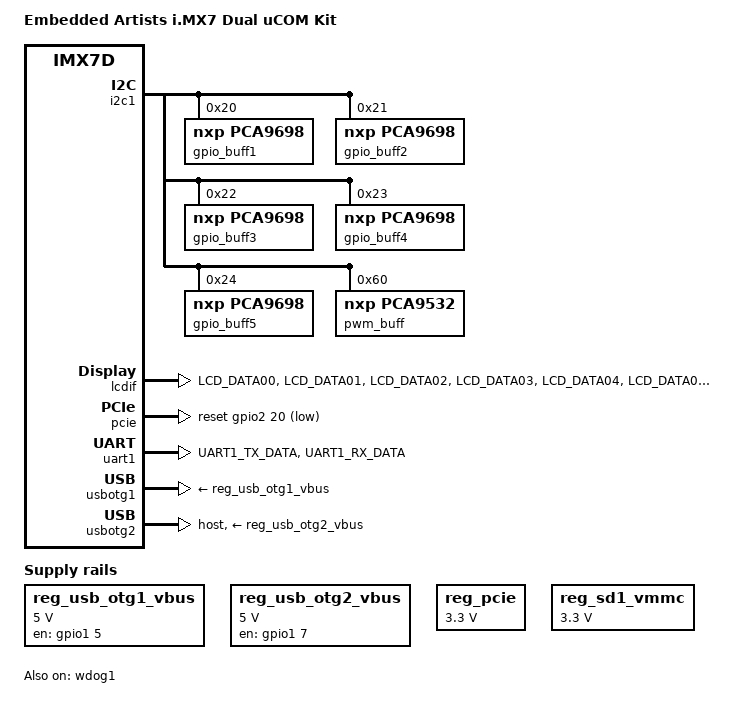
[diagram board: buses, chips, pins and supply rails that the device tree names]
/*
 * Copyright (C) 2015 Freescale Semiconductor, Inc.
 *
 * This program is free software; you can redistribute it and/or modify
 * it under the terms of the GNU General Public License version 2 as
 * published by the Free Software Foundation.
 */

/dts-v1/;

#include <dt-bindings/input/input.h>
#include <dt-bindings/leds/leds-pca9532.h>
#include "imx7dea-ucom-adapter.dtsi"

/ {
	model = "Embedded Artists i.MX7 Dual uCOM Kit";
	compatible = "fsl,imx7dea-ucom", "fsl,imx7d";

	/* Aliases to allow u-boot to modify the device tree */
	aliases {
	};

	regulators {
		compatible = "simple-bus";
		#address-cells = <1>;
		#size-cells = <0>;

		reg_usb_otg1_vbus: regulator@0 {
			compatible = "regulator-fixed";
			reg = <0>;
			regulator-name = "usb_otg1_vbus";
			regulator-min-microvolt = <5000000>;
			regulator-max-microvolt = <5000000>;
			gpio = <&gpio1 5 GPIO_ACTIVE_HIGH>;
			enable-active-high;
		};

		reg_usb_otg2_vbus: regulator@1 {
			compatible = "regulator-fixed";
			reg = <1>;
			regulator-name = "usb_otg2_vbus";
			regulator-min-microvolt = <5000000>;
			regulator-max-microvolt = <5000000>;
			gpio = <&gpio1 7 GPIO_ACTIVE_HIGH>;
			enable-active-high;
		};

		reg_pcie: regulator@4 {
			compatible = "regulator-fixed";
			reg = <4>;
			regulator-name = "MPCIE_3V3";
			regulator-min-microvolt = <3300000>;
			regulator-max-microvolt = <3300000>;
			regulator-always-on;
			enable-active-high;
		};

		reg_sd1_vmmc: regulator@5 {
			compatible = "regulator-fixed";
			regulator-name = "VDD_SD1";
			regulator-min-microvolt = <3300000>;
			regulator-max-microvolt = <3300000>;
			enable-active-high;
			startup-delay-us = <200000>;
		};
	};
};

&i2c1 {
	gpio_buff1: pca9698@20 {
		compatible = "nxp,pca9698";
		reg = <0x20>;
		gpio-controller;
		#gpio-cells = <2>;
	};
	gpio_buff2: pca9698@21 {
		compatible = "nxp,pca9698";
		reg = <0x21>;
		gpio-controller;
		#gpio-cells = <2>;
	};
	gpio_buff3: pca9698@22 {
		compatible = "nxp,pca9698";
		reg = <0x22>;
		gpio-controller;
		#gpio-cells = <2>;
	};
	gpio_buff4: pca9698@23 {
		compatible = "nxp,pca9698";
		reg = <0x23>;
		gpio-controller;
		#gpio-cells = <2>;
	};
	gpio_buff5: pca9698@24 {
		compatible = "nxp,pca9698";
		reg = <0x24>;
		gpio-controller;
		#gpio-cells = <2>;
	};

	pwm_buff: pca9532@60 {
		compatible = "nxp,pca9532";
		reg = <0x60>;

		tst-pwm-000 {
			label = "TST_PWM_000";
			type = <PCA9532_TYPE_LED>;
		};
		tst-pwm-001 {
			label = "TST_PWM_001";
			type = <PCA9532_TYPE_LED>;
		};
		tst-pwm-002 {
			label = "TST_PWM_002";
			type = <PCA9532_TYPE_LED>;
		};
		tst-pwm-003 {
			label = "TST_PWM_003";
			type = <PCA9532_TYPE_LED>;
		};
		tst-pwm-004 {
			label = "TST_PWM_004";
			type = <PCA9532_TYPE_LED>;
		};
		tst-pwm-005 {
			label = "TST_PWM_005";
			type = <PCA9532_TYPE_LED>;
		};
		tst-pwm-006 {
			label = "TST_PWM_006";
			type = <PCA9532_TYPE_LED>;
		};
		tst-pwm-007 {
			label = "TST_PWM_007";
			type = <PCA9532_TYPE_LED>;
		};
		tst-pwm-008 {
			label = "TST_PWM_008";
			type = <PCA9532_TYPE_LED>;
		};
		tst-pwm-009 {
			label = "TST_PWM_009";
			type = <PCA9532_TYPE_LED>;
		};
		tst-pwm-010 {
			label = "TST_PWM_010";
			type = <PCA9532_TYPE_LED>;
		};
		tst-pwm-011 {
			label = "TST_PWM_011";
			type = <PCA9532_TYPE_LED>;
		};
		tst-pwm-012 {
			label = "TST_PWM_012";
			type = <PCA9532_TYPE_LED>;
		};
		red-led {
			label = "TST_PWM_013-RED_LED";
			type = <PCA9532_TYPE_LED>;
		};
		blue-led {
			label = "TST_PWM_014-BLUE_LED";
			type = <PCA9532_TYPE_LED>;
		};
		green-led {
			label = "TST_PWM_015-GREEN_LED";
			type = <PCA9532_TYPE_LED>;
		};
	};
};

&i2c2 {
	status = "disabled";
};

&i2c3 {
	status = "disabled";
};

&iomuxc {
	pinctrl-names = "default";
	pinctrl-0 = <&pinctrl_hog_1>, <&pinctrl_test_1>;

	imx7d-ucom-ptp {
		pinctrl_hog_1: hoggrp-1 {
			fsl,pins = <
				MX7D_PAD_UART3_CTS_B__GPIO4_IO7	0x14
				MX7D_PAD_ECSPI2_SS0__GPIO4_IO23	 0x80000000  /* bt reg on */
				/*MX7D_PAD_GPIO1_IO08__SD1_VSELECT	0x59 / * SD1 VSELECT */
				MX7D_PAD_SD1_CD_B__GPIO5_IO0		0x59 /* CD */
				MX7D_PAD_SD1_RESET_B__GPIO5_IO2		0x59 /* vmmc */
				MX7D_PAD_EPDC_SDCE3__GPIO2_IO23         0x59
				MX7D_PAD_EPDC_DATA14__GPIO2_IO14        0x59 /* CAN_STBY */
				MX7D_PAD_GPIO1_IO09__GPIO1_IO9		0x59 /* PMIC_INT_B */
			>;
		};
		pinctrl_test_1: tstgrp-1 {
			fsl,pins = <
				/* From: pinctrl_hog_1: hoggrp-1 */
				MX7D_PAD_GPIO1_IO08__SD1_VSELECT		0x3b

				/* From: pinctrl_rgb_connector: rgb_connector_grp */
				MX7D_PAD_SD2_CD_B__GPIO5_IO9			0x3b
				MX7D_PAD_EPDC_GDSP__GPIO2_IO27			0x3b

				/* From: pinctrl_lvds0: lvds0_intgrp*/
				MX7D_PAD_EPDC_GDRL__GPIO2_IO26			0x3b

				/* From: pinctrl_ov5647: ov5647grp-1 */
				MX7D_PAD_I2C4_SCL__GPIO4_IO14			0x3b
				MX7D_PAD_I2C4_SDA__GPIO4_IO15			0x3b

				/* From: pinctrl_epdc0: epdcgrp0 */
				/*MX7D_PAD_EPDC_DATA00__GPIO2_IO0			0x3b
				MX7D_PAD_EPDC_DATA01__GPIO2_IO1			0x3b
				MX7D_PAD_EPDC_DATA02__GPIO2_IO2			0x3b
				MX7D_PAD_EPDC_DATA03__GPIO2_IO3			0x3b
				MX7D_PAD_EPDC_DATA04__GPIO2_IO4			0x3b
				MX7D_PAD_EPDC_DATA05__GPIO2_IO5			0x3b
				MX7D_PAD_EPDC_DATA06__GPIO2_IO6			0x3b*/
				MX7D_PAD_EPDC_DATA07__GPIO2_IO7			0x3b
				MX7D_PAD_EPDC_DATA08__GPIO2_IO8			0x3b
				MX7D_PAD_EPDC_DATA09__GPIO2_IO9			0x3b
				MX7D_PAD_EPDC_DATA10__GPIO2_IO10		0x3b
				MX7D_PAD_EPDC_DATA11__GPIO2_IO11		0x3b
				MX7D_PAD_EPDC_DATA12__GPIO2_IO12		0x3b
				MX7D_PAD_EPDC_DATA13__GPIO2_IO13		0x3b
				MX7D_PAD_EPDC_DATA14__GPIO2_IO14		0x3b
				MX7D_PAD_EPDC_DATA15__GPIO2_IO15		0x3b
				MX7D_PAD_EPDC_SDCLK__GPIO2_IO16			0x3b
				MX7D_PAD_EPDC_SDLE__GPIO2_IO17			0x3b
				MX7D_PAD_EPDC_SDOE__GPIO2_IO18			0x3b
				MX7D_PAD_EPDC_SDSHR__GPIO2_IO19			0x3b
				MX7D_PAD_EPDC_SDCE0__GPIO2_IO20			0x3b
				MX7D_PAD_EPDC_SDCE1__GPIO2_IO21			0x3b
				MX7D_PAD_EPDC_GDCLK__GPIO2_IO24			0x3b
				MX7D_PAD_EPDC_GDOE__GPIO2_IO25			0x3b
				MX7D_PAD_EPDC_GDRL__GPIO2_IO26			0x3b
				MX7D_PAD_EPDC_GDSP__GPIO2_IO27			0x3b
				MX7D_PAD_EPDC_BDR0__GPIO2_IO28			0x3b
				MX7D_PAD_EPDC_BDR1__GPIO2_IO29			0x3b

				/* From: pinctrl_ecspi3_cs: ecspi3_cs_grp */
				MX7D_PAD_SD2_CD_B__GPIO5_IO9			0x3b

				/* From: pinctrl_ecspi3: ecspi3grp */
				MX7D_PAD_SAI2_TX_SYNC__GPIO6_IO19		0x3b
				MX7D_PAD_SAI2_TX_BCLK__GPIO6_IO20		0x3b
				MX7D_PAD_SAI2_RX_DATA__GPIO6_IO21		0x3b

				/* From: pinctrl_flexcan1: flexcan1grp */
				MX7D_PAD_GPIO1_IO12__GPIO1_IO12			0x3b
				MX7D_PAD_GPIO1_IO13__GPIO1_IO13			0x3b

				/* From: pinctrl_flexcan2: flexcan2grp */
				MX7D_PAD_GPIO1_IO14__GPIO1_IO14			0x3b
				MX7D_PAD_GPIO1_IO15__GPIO1_IO15			0x3b

				/* From: pinctrl_i2c2: i2c2grp */
				MX7D_PAD_I2C2_SDA__GPIO4_IO11			0x3b
				MX7D_PAD_I2C2_SCL__GPIO4_IO10			0x3b

				/* From: pinctrl_i2c3: i2c3grp */
				MX7D_PAD_I2C3_SDA__GPIO4_IO13			0x3b
				MX7D_PAD_I2C3_SCL__GPIO4_IO12			0x3b

				/* From: pinctrl_i2c4: i2c4grp */
				MX7D_PAD_SAI1_RX_BCLK__GPIO6_IO17		0x3b
				MX7D_PAD_SAI1_RX_SYNC__GPIO6_IO16		0x3b

				/* From: pinctrl_uart2: uart2grp */
				MX7D_PAD_UART2_TX_DATA__GPIO4_IO3		0x3b
				MX7D_PAD_UART2_RX_DATA__GPIO4_IO2		0x3b

				/* From: pinctrl_uart3: uart3grp */
				MX7D_PAD_UART3_TX_DATA__GPIO4_IO5		0x3b
				MX7D_PAD_UART3_RX_DATA__GPIO4_IO4		0x3b

				/* From: pinctrl_usdhc1: usdhc1grp */
				MX7D_PAD_SD1_CMD__GPIO5_IO4			0x3b
				MX7D_PAD_SD1_CLK__GPIO5_IO3			0x3b
				MX7D_PAD_SD1_DATA0__GPIO5_IO5			0x3b
				MX7D_PAD_SD1_DATA1__GPIO5_IO6			0x3b
				MX7D_PAD_SD1_DATA2__GPIO5_IO7			0x3b
				MX7D_PAD_SD1_DATA3__GPIO5_IO8			0x3b

				/* From: pinctrl_usdhc2: usdhc2grp */
				MX7D_PAD_SD2_CMD__GPIO5_IO13			0x3b
				MX7D_PAD_SD2_CLK__GPIO5_IO12			0x3b
				MX7D_PAD_SD2_DATA0__GPIO5_IO14			0x3b
				MX7D_PAD_SD2_DATA1__GPIO5_IO15			0x3b
				MX7D_PAD_SD2_DATA2__GPIO5_IO16			0x3b
				MX7D_PAD_SD2_DATA3__GPIO5_IO17			0x3b
				MX7D_PAD_ECSPI2_MOSI__GPIO4_IO21		0x3b

				/* From: pinctrl_sai1: sai1grp */
				MX7D_PAD_SAI1_MCLK__GPIO6_IO18			0x3b
				MX7D_PAD_SAI1_TX_BCLK__GPIO6_IO13		0x3b
				MX7D_PAD_SAI1_TX_SYNC__GPIO6_IO14		0x3b
				MX7D_PAD_SAI1_TX_DATA__GPIO6_IO15		0x3b
				MX7D_PAD_SAI1_RX_DATA__GPIO6_IO12		0x3b

				/* From: Previously Undeclared */
				MX7D_PAD_EPDC_SDCE2__GPIO2_IO22			0x3b
			>;
		};

		pinctrl_lcdif_dat: lcdifdatgrp {
			fsl,pins = <
				MX7D_PAD_LCD_DATA00__LCD_DATA0	0x79
				MX7D_PAD_LCD_DATA01__LCD_DATA1	0x79
				MX7D_PAD_LCD_DATA02__LCD_DATA2	0x79
				MX7D_PAD_LCD_DATA03__LCD_DATA3	0x79
				MX7D_PAD_LCD_DATA04__LCD_DATA4	0x79
				MX7D_PAD_LCD_DATA05__LCD_DATA5	0x79
				MX7D_PAD_LCD_DATA06__LCD_DATA6	0x79
				MX7D_PAD_LCD_DATA07__LCD_DATA7	0x79
				MX7D_PAD_LCD_DATA08__LCD_DATA8	0x79
				MX7D_PAD_LCD_DATA09__LCD_DATA9	0x79
				MX7D_PAD_LCD_DATA10__LCD_DATA10	0x79
				MX7D_PAD_LCD_DATA11__LCD_DATA11	0x79
				MX7D_PAD_LCD_DATA12__LCD_DATA12	0x79
				MX7D_PAD_LCD_DATA13__LCD_DATA13	0x79
				MX7D_PAD_LCD_DATA14__LCD_DATA14	0x79
				MX7D_PAD_LCD_DATA15__LCD_DATA15	0x79
				MX7D_PAD_LCD_DATA16__LCD_DATA16	0x79
				MX7D_PAD_LCD_DATA17__LCD_DATA17	0x79
				MX7D_PAD_LCD_DATA18__LCD_DATA18	0x79
				MX7D_PAD_LCD_DATA19__LCD_DATA19	0x79
				MX7D_PAD_LCD_DATA20__LCD_DATA20	0x79
				MX7D_PAD_LCD_DATA21__LCD_DATA21	0x79
				MX7D_PAD_LCD_DATA22__LCD_DATA22	0x79
				MX7D_PAD_LCD_DATA23__LCD_DATA23	0x79
			>;
		};

		pinctrl_lcdif_ctrl: lcdifctrlgrp {
			fsl,pins = <
				MX7D_PAD_LCD_CLK__LCD_CLK	0x79
				MX7D_PAD_LCD_ENABLE__LCD_ENABLE	0x79
				MX7D_PAD_LCD_VSYNC__LCD_VSYNC	0x79
				MX7D_PAD_LCD_HSYNC__LCD_HSYNC	0x79
				MX7D_PAD_LCD_RESET__LCD_RESET	0x79
				/*MX7D_PAD_EPDC_GDCLK__GPIO2_IO24 0x79*/
				/*MX7D_PAD_EPDC_GDOE__GPIO2_IO25  0x79*/
			>;
		};

		pinctrl_uart1: uart1grp {
			fsl,pins = <
				MX7D_PAD_UART1_TX_DATA__UART1_DCE_TX 0x56
				MX7D_PAD_UART1_RX_DATA__UART1_DCE_RX 0x56
			>;
		};
	};
};

&iomuxc_lpsr {
	pinctrl-names = "default";
	pinctrl-0 = <&pinctrl_hog_2>, <&pinctrl_test_2>;

	imx7d-ucom-ptp {
		pinctrl_hog_2: hoggrp-2 {
			fsl,pins = <
				MX7D_PAD_LPSR_GPIO1_IO05__GPIO1_IO5		0x14
				MX7D_PAD_LPSR_GPIO1_IO00__WDOG1_WDOG_ANY	0x74
				MX7D_PAD_LPSR_GPIO1_IO07__GPIO1_IO7		0x59
			>;
		};

		pinctrl_test_2: tstgrp-2 {
			fsl,pins = <
				/* From: pinctrl_pwm1: pwm1grp */
				MX7D_PAD_LPSR_GPIO1_IO01__GPIO1_IO1	0x110b0

				/* From: pinctrl_pwm3: pwm3grp */
				MX7D_PAD_LPSR_GPIO1_IO03__GPIO1_IO3	0x110b0
			>;
		};
	};
};

&lcdif {
	pinctrl-names = "default";
	pinctrl-0 = <&pinctrl_lcdif_dat
		     &pinctrl_lcdif_ctrl>;
	/*pinctrl-assert-gpios = <&gpio2 25 GPIO_ACTIVE_HIGH>;*/
	display = <&display0>;
	status = "okay";

	display0: display {
		bits-per-pixel = <24>;
		bus-width = <24>;

                display-timings {
                        native-mode = <&t_lcd>;
                        t_lcd: t_lcd_default {
                                /* values may be changed in bootscript */
                                clock-frequency = <25175000>;
                                hactive = <640>;
                                vactive = <480>;
                                hback-porch = <10>;
                                hfront-porch = <10>;
                                vback-porch = <10>;
                                vfront-porch = <10>;
                                hsync-len = <60>;
                                vsync-len = <10>;
                                hsync-active = <0>;
                                vsync-active = <0>;
                                de-active = <1>;
                                pixelclk-active = <0>;
                        };
                };
	};
};

&pcie {
	pinctrl-names = "default";
	reset-gpio = <&gpio2 20 GPIO_ACTIVE_LOW>;
	status = "okay";
};

&uart1 {
	pinctrl-names = "default";
	pinctrl-0 = <&pinctrl_uart1>;
	assigned-clocks = <&clks IMX7D_UART1_ROOT_SRC>;
	assigned-clock-parents = <&clks IMX7D_OSC_24M_CLK>;
	status = "okay";
};

&usbotg1 {
	vbus-supply = <&reg_usb_otg1_vbus>;
	srp-disable;
	hnp-disable;
	adp-disable;
	status = "okay";
};

&usbotg2 {
	vbus-supply = <&reg_usb_otg2_vbus>;
	dr_mode = "host";
	status = "okay";
};

&wdog1 {
	status = "okay";
	fsl,ext-reset-output;
};
